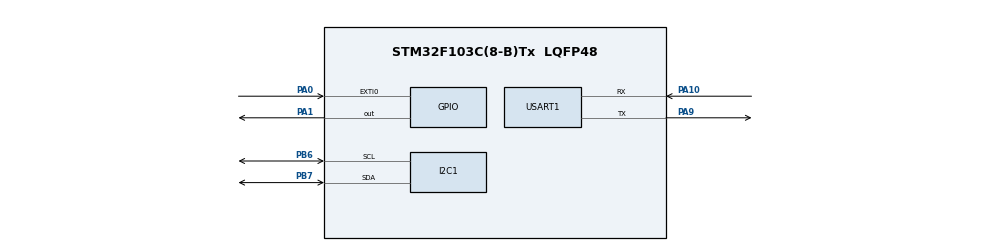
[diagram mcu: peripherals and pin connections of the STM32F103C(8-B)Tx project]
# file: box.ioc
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Mcu.Family=STM32F1
Mcu.Name=STM32F103C(8-B)Tx
Mcu.Package=LQFP48
NVIC.EXTI0_IRQn=true\:0\:0\:false\:false\:true\:true\:true\:true
NVIC.PriorityGroup=NVIC_PRIORITYGROUP_4
NVIC.USART1_IRQn=true\:0\:0\:false\:false\:true\:true\:true\:true
PA0-WKUP.GPIO_ModeDefaultEXTI=GPIO_MODE_IT_FALLING
PA0-WKUP.GPIO_PuPd=GPIO_PULLUP
PA0-WKUP.Signal=GPXTI0
PA1.PinState=GPIO_PIN_SET
PA1.Signal=GPIO_Output
PA10.Mode=Asynchronous
PA10.Signal=USART1_RX
PA9.Mode=Asynchronous
PA9.Signal=USART1_TX
PB6.Mode=I2C
PB6.Signal=I2C1_SCL
PB7.Mode=I2C
PB7.Signal=I2C1_SDA
PD0-OSC_IN.Mode=HSE-External-Oscillator
PD0-OSC_IN.Signal=RCC_OSC_IN
PD1-OSC_OUT.Mode=HSE-External-Oscillator
PD1-OSC_OUT.Signal=RCC_OSC_OUT
ProjectManager.HeapSize=0x200
ProjectManager.StackSize=0x400
ProjectManager.TargetToolchain=STM32CubeIDE
RCC.AHBFreq_Value=72000000
RCC.APB1CLKDivider=RCC_HCLK_DIV2
RCC.APB1Freq_Value=36000000
RCC.APB1TimFreq_Value=72000000
RCC.APB2Freq_Value=72000000
RCC.APB2TimFreq_Value=72000000
RCC.HCLKFreq_Value=72000000
RCC.PLLMUL=RCC_PLL_MUL9
RCC.PLLSourceVirtual=RCC_PLLSOURCE_HSE
RCC.SYSCLKFreq_VALUE=72000000
RCC.SYSCLKSource=RCC_SYSCLKSOURCE_PLLCLK
RCC.USBFreq_Value=72000000
USART1.VirtualMode=VM_ASYNC
board=custom

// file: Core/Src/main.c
/* USER CODE BEGIN Header */
/**
  ******************************************************************************
  * @file           : main.c
  * @brief          : Main program body
  ******************************************************************************
  * @attention
  *
  * Copyright (c) 2023 STMicroelectronics.
  * All rights reserved.
  *
  * This software is licensed under terms that can be found in the LICENSE file
  * in the root directory of this software component.
  * If no LICENSE file comes with this software, it is provided AS-IS.
  *
  ******************************************************************************
  */
/* USER CODE END Header */
#include "main.h"
#include "i2c.h"
#include "usart.h"
#include "gpio.h"

/* USER CODE BEGIN Includes */
#define LCD_ADDR 0x3F<<1
/* USER CODE END Includes */

void SystemClock_Config(void);

int main(void)
{

  /* MCU Configuration--------------------------------------------------------*/

  /* Reset of all peripherals, Initializes the Flash interface and the Systick. */
  HAL_Init();

  /* Configure the system clock */
  SystemClock_Config();

  /* Initialize all configured peripherals */
  MX_GPIO_Init();
  MX_USART1_UART_Init();
  MX_I2C1_Init();
  /* USER CODE BEGIN 2 */
  USART1->CR1 |= USART_CR1_TE | USART_CR1_RE ; // разрешаем приемник и передатчик
  extern uint8_t flag_signal;
  flag_signal = 0;
  extern uint8_t score;
  score = 0;
  extern uint8_t flag_change;
  flag_change = 1;
  char str[100];
  I2C_Scan();
  LCD_Init(LCD_ADDR);
  LCD_SetCursor(LCD_ADDR, 5, 0);
  LCD_SendString(LCD_ADDR, "RESET");
  LCD_SetCursor(LCD_ADDR, 0, 1);
  LCD_SendString(LCD_ADDR, "Score:");
  LL_USART_EnableIT_RXNE(USART1);
  LL_USART_EnableIT_ERROR(USART1);
//  while ((USART1->SR & USART_SR_TXE) == 0) {} // Ждем пустого регистра
//      	  	        USART1->DR = 5 & 0xFF;

  /* USER CODE END 2 */

  /* Infinite loop */
  /* USER CODE BEGIN WHILE */
  while (1)
  {
	  if(flag_change == 1){
		  flag_change = 0;
		  LCD_SetCursor(LCD_ADDR, 7, 1);
		  sprintf (str, "%d", score);
		  LCD_SendString(LCD_ADDR, str);
	  }
    /* USER CODE END WHILE */

  }
}

void SystemClock_Config(void)
{
  LL_FLASH_SetLatency(LL_FLASH_LATENCY_2);
  while(LL_FLASH_GetLatency()!= LL_FLASH_LATENCY_2)
  {
  }
  LL_RCC_HSE_Enable();

   /* Wait till HSE is ready */
  while(LL_RCC_HSE_IsReady() != 1)
  {

  }
  LL_RCC_PLL_ConfigDomain_SYS(LL_RCC_PLLSOURCE_HSE_DIV_1, LL_RCC_PLL_MUL_9);
  LL_RCC_PLL_Enable();

   /* Wait till PLL is ready */
  while(LL_RCC_PLL_IsReady() != 1)
  {

  }
  LL_RCC_SetAHBPrescaler(LL_RCC_SYSCLK_DIV_1);
  LL_RCC_SetAPB1Prescaler(LL_RCC_APB1_DIV_2);
  LL_RCC_SetAPB2Prescaler(LL_RCC_APB2_DIV_1);
  LL_RCC_SetSysClkSource(LL_RCC_SYS_CLKSOURCE_PLL);

   /* Wait till System clock is ready */
  while(LL_RCC_GetSysClkSource() != LL_RCC_SYS_CLKSOURCE_STATUS_PLL)
  {

  }
  LL_SetSystemCoreClock(72000000);

   /* Update the time base */
  if (HAL_InitTick (TICK_INT_PRIORITY) != HAL_OK)
  {
    Error_Handler();
  }
}

void Error_Handler(void)
{
  __disable_irq();
  while (1)
  {
  }
}
